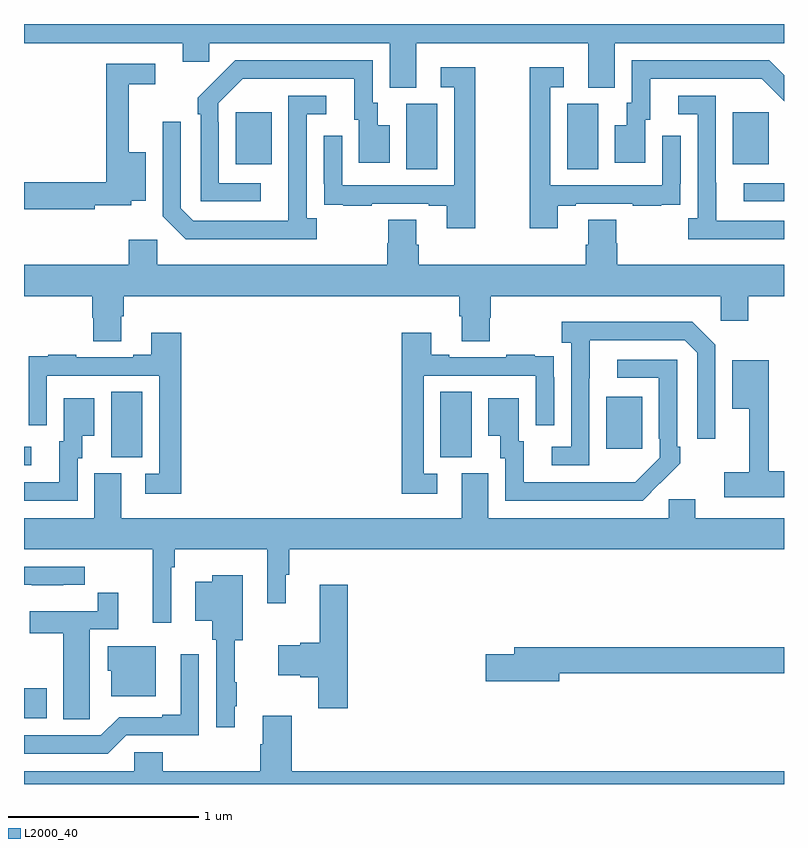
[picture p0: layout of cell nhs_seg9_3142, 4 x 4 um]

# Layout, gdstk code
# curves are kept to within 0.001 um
import gdstk
lib = gdstk.Library(unit=1e-6, precision=1e-09)
def R(c, l, rs):  # rectangles x0, y0, x1, y1
    for r in rs: c.add(gdstk.rectangle(r[:2], r[2:], *l))
def P(c, l, *ps):  # polygons
    for p in ps: c.add(gdstk.Polygon(p, *l))
L2000_40 = (2000, 40)

nhs_seg9_3142 = lib.new_cell('nhs_seg9_3142')
R(nhs_seg9_3142, L2000_40, [(291,1212.845,291.121,1213.005), (291,1214.178,291.037,1214.274), (291.458,1214.221,291.622,1214.564), (293.192,1214.221,293.356,1214.564), (294.065,1214.265,294.253,1214.539), (294.789,1215.567,295,1215.663), (293.012,1215.736,293.176,1216.08), (293.858,1215.736,294.022,1216.08), (292.115,1215.761,292.303,1216.036), (294.731,1215.761,294.919,1216.036)])
P(nhs_seg9_3142, L2000_40, [(293.065,1216.4),(293.969,1216.4),(293.969,1216.165),(294.109,1216.165),(294.109,1216.4),(295,1216.4),(295,1216.5),(291,1216.5),(291,1216.4),(291.836,1216.4),(291.836,1216.302),(291.975,1216.302),(291.975,1216.4),(292.925,1216.4),(292.925,1216.165),(293.065,1216.165)],
  [(292.246,1215.663),(292.026,1215.663),(292.026,1215.983),(292.023,1215.983),(292.023,1216.083),(292.152,1216.212),(292.739,1216.212),(292.739,1215.996),(292.763,1215.996),(292.763,1215.771),(292.924,1215.771),(292.924,1215.967),(292.861,1215.967),(292.861,1216.086),(292.836,1216.086),(292.836,1216.308),(292.112,1216.308),(291.915,1216.113),(291.915,1216.025),(291.93,1216.025),(291.93,1215.567),(292.246,1215.567)],
  [(294.271,1215.996),(294.295,1215.996),(294.295,1216.212),(294.883,1216.212),(295,1216.094),(295,1216.23),(294.922,1216.308),(294.198,1216.308),(294.198,1216.086),(294.173,1216.086),(294.173,1215.967),(294.11,1215.967),(294.11,1215.771),(294.271,1215.771)],
  [(291.372,1215.545),(291.564,1215.545),(291.564,1215.569),(291.64,1215.569),(291.64,1215.826),(291.551,1215.826),(291.551,1216.182),(291.691,1216.182),(291.691,1216.29),(291.433,1216.29),(291.433,1215.668),(291,1215.668),(291,1215.526),(291.372,1215.526)],
  [(293.374,1216.273),(293.193,1216.273),(293.193,1216.167),(293.265,1216.167),(293.265,1215.651),(292.674,1215.651),(292.674,1215.913),(292.578,1215.913),(292.578,1215.658),(292.579,1215.658),(292.579,1215.549),(292.681,1215.549),(292.681,1215.543),(292.829,1215.543),(292.829,1215.555),(293.129,1215.555),(293.129,1215.543),(293.225,1215.543),(293.225,1215.426),(293.374,1215.426)],
  [(293.809,1215.543),(293.905,1215.543),(293.905,1215.555),(294.205,1215.555),(294.205,1215.543),(294.353,1215.543),(294.353,1215.549),(294.455,1215.549),(294.455,1215.658),(294.456,1215.658),(294.456,1215.913),(294.36,1215.913),(294.36,1215.651),(293.769,1215.651),(293.769,1216.167),(293.842,1216.167),(293.842,1216.273),(293.661,1216.273),(293.661,1215.426),(293.809,1215.426)],
  [(295,1215.465),(294.643,1215.465),(294.643,1215.665),(294.642,1215.665),(294.642,1216.122),(294.444,1216.122),(294.444,1216.026),(294.546,1216.026),(294.546,1215.478),(294.495,1215.478),(294.495,1215.368),(295,1215.368)],
  [(292.54,1215.478),(292.488,1215.478),(292.488,1216.026),(292.591,1216.026),(292.591,1216.122),(292.392,1216.122),(292.391,1215.465),(291.891,1215.465),(291.825,1215.531),(291.825,1215.985),(291.729,1215.985),(291.729,1215.489),(291.85,1215.368),(292.54,1215.368)],
  [(291,1215.068),(291.359,1215.068),(291.359,1214.955),(291.364,1214.955),(291.364,1214.83),(291.511,1214.83),(291.511,1214.962),(291.524,1214.962),(291.524,1215.068),(293.291,1215.068),(293.291,1214.962),(293.303,1214.962),(293.303,1214.83),(293.451,1214.83),(293.451,1214.955),(293.456,1214.955),(293.456,1215.068),(294.666,1215.068),(294.666,1214.937),(294.813,1214.937),(294.813,1215.068),(295,1215.068),(295,1215.232),(294.122,1215.232),(294.122,1215.345),(294.117,1215.345),(294.117,1215.47),(293.969,1215.47),(293.969,1215.338),(293.957,1215.338),(293.957,1215.232),(293.078,1215.232),(293.078,1215.338),(293.065,1215.338),(293.065,1215.47),(292.918,1215.47),(292.918,1215.345),(292.913,1215.345),(292.913,1215.232),(291.702,1215.232),(291.702,1215.364),(291.551,1215.364),(291.551,1215.232),(291,1215.232)],
  [(293.976,1214.635),(293.977,1214.835),(294.477,1214.835),(294.543,1214.769),(294.543,1214.316),(294.639,1214.316),(294.639,1214.811),(294.518,1214.932),(293.829,1214.932),(293.829,1214.822),(293.88,1214.822),(293.88,1214.274),(293.778,1214.274),(293.778,1214.178),(293.976,1214.178)],
  [(291.827,1214.875),(291.671,1214.875),(291.671,1214.758),(291.575,1214.758),(291.575,1214.745),(291.275,1214.745),(291.275,1214.758),(291.127,1214.758),(291.127,1214.751),(291.025,1214.751),(291.025,1214.642),(291.024,1214.642),(291.024,1214.388),(291.12,1214.388),(291.12,1214.649),(291.711,1214.649),(291.711,1214.133),(291.639,1214.133),(291.639,1214.028),(291.827,1214.028)],
  [(293.176,1214.133),(293.103,1214.133),(293.103,1214.649),(293.694,1214.649),(293.694,1214.388),(293.79,1214.388),(293.79,1214.642),(293.789,1214.642),(293.789,1214.751),(293.687,1214.751),(293.687,1214.758),(293.539,1214.758),(293.539,1214.745),(293.239,1214.745),(293.239,1214.758),(293.143,1214.758),(293.143,1214.875),(292.987,1214.875),(292.987,1214.028),(293.176,1214.028)],
  [(294.347,1214.083),(294.348,1214.082),(294.453,1214.187),(294.453,1214.275),(294.438,1214.275),(294.438,1214.733),(294.123,1214.733),(294.123,1214.637),(294.342,1214.637),(294.342,1214.317),(294.345,1214.317),(294.345,1214.217),(294.217,1214.089),(293.629,1214.088),(293.629,1214.304),(293.605,1214.304),(293.605,1214.53),(293.444,1214.53),(293.444,1214.333),(293.507,1214.333),(293.507,1214.214),(293.532,1214.214),(293.532,1213.992),(294.256,1213.992)],
  [(295,1214.147),(294.92,1214.147),(294.92,1214.731),(294.728,1214.731),(294.728,1214.474),(294.818,1214.474),(294.818,1214.142),(294.686,1214.142),(294.686,1214.009),(295,1214.009)],
  [(291.282,1214.214),(291.307,1214.214),(291.307,1214.333),(291.37,1214.333),(291.37,1214.53),(291.209,1214.53),(291.209,1214.304),(291.185,1214.304),(291.185,1214.088),(291,1214.088),(291,1213.992),(291.282,1213.992)],
  [(291.774,1213.64),(291.794,1213.64),(291.794,1213.736),(292.28,1213.736),(292.28,1213.452),(292.378,1213.452),(292.378,1213.602),(292.397,1213.602),(292.397,1213.736),(295,1213.736),(295,1213.9),(294.532,1213.9),(294.532,1213.998),(294.393,1213.998),(294.393,1213.9),(293.443,1213.9),(293.443,1214.136),(293.303,1214.136),(293.303,1213.9),(291.511,1213.9),(291.511,1214.136),(291.371,1214.136),(291.371,1213.9),(291,1213.9),(291,1213.736),(291.677,1213.736),(291.677,1213.35),(291.774,1213.35)],
  [(291.206,1213.548),(291.319,1213.548),(291.319,1213.644),(291,1213.644),(291,1213.548),(291.04,1213.548),(291.04,1213.547),(291.206,1213.547)],
  [(292.108,1212.91),(292.12,1212.91),(292.12,1213.035),(292.11,1213.035),(292.11,1213.256),(292.15,1213.256),(292.15,1213.6),(291.992,1213.6),(291.992,1213.564),(291.902,1213.564),(291.902,1213.358),(291.992,1213.358),(291.992,1213.26),(292.011,1213.26),(292.011,1212.798),(292.108,1212.798)],
  [(292.703,1213.549),(292.556,1213.549),(292.556,1213.244),(292.455,1213.244),(292.455,1213.231),(292.338,1213.231),(292.338,1213.073),(292.455,1213.073),(292.455,1213.061),(292.549,1213.061),(292.549,1212.9),(292.703,1212.9)],
  [(291.345,1212.952),(291.346,1212.952),(291.346,1213.314),(291.497,1213.314),(291.497,1213.507),(291.388,1213.507),(291.388,1213.41),(291.029,1213.41),(291.029,1213.294),(291.206,1213.294),(291.206,1212.841),(291.345,1212.841)],
  [(291.694,1213.225),(291.44,1213.225),(291.44,1213.095),(291.458,1213.095),(291.458,1212.962),(291.694,1212.962)],
  [(293.818,1213.084),(295,1213.084),(295,1213.22),(293.579,1213.22),(293.579,1213.184),(293.43,1213.184),(293.43,1213.042),(293.818,1213.042)],
  [(291.537,1212.756),(291.921,1212.756),(291.921,1213.183),(291.824,1213.183),(291.824,1212.865),(291.728,1212.865),(291.728,1212.852),(291.501,1212.852),(291.405,1212.756),(291,1212.756),(291,1212.66),(291.441,1212.66)],
  [(295,1212.568),(292.409,1212.568),(292.409,1212.859),(292.256,1212.859),(292.256,1212.71),(292.244,1212.71),(292.244,1212.568),(291.731,1212.568),(291.731,1212.666),(291.579,1212.666),(291.579,1212.568),(291,1212.568),(291,1212.5),(295,1212.5)])

lib.write_gds('nhs_seg9_3142.gds')
